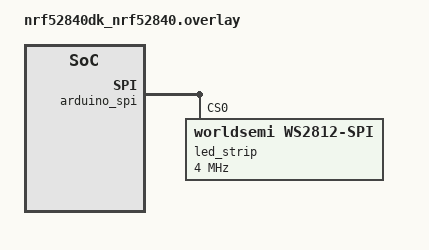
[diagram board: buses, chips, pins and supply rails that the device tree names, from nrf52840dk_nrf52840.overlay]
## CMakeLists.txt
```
cmake_minimum_required(VERSION 3.20.0)
find_package(Zephyr REQUIRED HINTS $ENV{ZEPHYR_BASE})

project(BT_DISPLAY)

target_sources(app PRIVATE src/main.c src/DCLK_client.c src/Interface.c)
```

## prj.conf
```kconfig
CONFIG_BT_DEVICE_NAME="DCLK_Display_1"

CONFIG_BT_MAX_CONN=1
CONFIG_BT_DEBUG_LOG=y
CONFIG_LOG=y
CONFIG_PRINTK=y



# Enable the BLE stack with GATT Client configuration
CONFIG_BT=y
CONFIG_BT_CENTRAL=y
CONFIG_BT_SMP=y
CONFIG_BT_GATT_CLIENT=y
CONFIG_BT_FILTER_ACCEPT_LIST=y 
#CONFIG_BT_SIGNING=y
#CONFIG_BT_FIXED_PASSKEY=y

CONFIG_BT_PRIVACY=y
CONFIG_BT_BONDABLE=y

# Enable the BLE modules from NCS
CONFIG_BT_SCAN=y
CONFIG_BT_SCAN_FILTER_ENABLE=y
CONFIG_BT_SCAN_UUID_CNT=1
CONFIG_BT_GATT_DM=y
CONFIG_HEAP_MEM_POOL_SIZE=2048

# This example requires more workqueue stack
CONFIG_SYSTEM_WORKQUEUE_STACK_SIZE=2048

# Enable bonding
CONFIG_BT_SETTINGS=y
CONFIG_FLASH=y
CONFIG_FLASH_PAGE_LAYOUT=y
CONFIG_FLASH_MAP=y
CONFIG_NVS=y
CONFIG_SETTINGS=y
```

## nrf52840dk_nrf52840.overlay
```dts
// To get started, press Ctrl+Space to bring up the completion menu and view the available nodes.

// You can also use the buttons in the sidebar to perform actions on nodes.
// Actions currently available include:

// * Enabling / disabling the node
// * Adding the bus to a bus
// * Removing the node
// * Connecting ADC channels

// For more help, browse the DeviceTree documentation at https://docs.zephyrproject.org/latest/guides/dts/index.html
// You can also visit the nRF DeviceTree extension documentation at https://nrfconnect.github.io/vscode-nrf-connect/devicetree/nrfdevicetree.html
#include <zephyr/dt-bindings/led/led.h>

 
 &arduino_spi { /* MOSI on D11 / P0.23 */
     compatible = "nordic,nrf-spim";
     led_strip: ws2812@0 {
         compatible = "worldsemi,ws2812-spi";
 
         /* SPI */
         reg = <0>; /* ignored, but necessary for SPI bindings */
         spi-max-frequency = <4000000>;
 
         /* WS2812 */
         chain-length = <16>; /* arbitrary; change at will */
         color-mapping = <LED_COLOR_ID_GREEN
                  LED_COLOR_ID_RED
                  LED_COLOR_ID_BLUE>;
         spi-one-frame = <0x40>;
         spi-zero-frame = <0x70>;
     };
 };
 
 / {
     aliases {
         led-strip = &led_strip;
     };
 };
```

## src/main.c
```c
/*
 * Copyright (c) 2023 Nordic Semiconductor ASA
 *
 * SPDX-License-Identifier: Apache-2.0
 */

#include <zephyr/bluetooth/bluetooth.h>
#include <zephyr/bluetooth/conn.h>
#include <zephyr/bluetooth/gatt.h>
#include <zephyr/bluetooth/uuid.h>
#include <zephyr/sys/util.h>
#include <zephyr/logging/log.h>
#include "DCLK_client.h"

#include "Interface.h"

LOG_MODULE_REGISTER(Display_app, CONFIG_LOG_DEFAULT_LEVEL);

/*DCLK Client Service and BLE*/

static uint8_t app_clock_cb(uint32_t data)
{
	LOG_INF("DCLK - Clock = %d ms", data);
	return BT_GATT_ITER_CONTINUE;
}
static uint8_t app_state_cb(uint8_t data)
{
	LOG_INF("DCLK - State = %d", data);
	return BT_GATT_ITER_CONTINUE;
}

static void unsubscribed(struct bt_gatt_subscribe_params *params)
{
	LOG_INF("unsub cb");
	return BT_GATT_ITER_CONTINUE;
}

static struct dclk_client_cb app_callbacks = {
	.received_clock = app_clock_cb,
	.received_state = app_state_cb,
	.unsubscribed = unsubscribed,
};

static uint8_t pair_cb(void)
{
	LOG_INF("Allow pairing");
	dclk_pairing(true);
}
static uint8_t user_cb(void)
{
}

static struct interface_cb inter_callbacks = {
	.pair_cb = pair_cb,
	.user_cb = user_cb,
};

int main(void)
{
	LOG_INF("DCLK_Display initialized\n");

	int err = interface_init(&inter_callbacks);
	if (err)
	{
		printk("Interface init failed (err %d)\n", err);
		return;
	}

	err = dclk_client_init(&app_callbacks, 123456);
	if (err)
	{
		printk("Failed to init LBS (err:%d)\n", err);
		return;
	}
	LOG_INF("Bluetooth initialized\n");

	//dclk_pairing(true);

	while (1)
	{
		k_sleep(K_FOREVER);
	}

	return 0;
}
```

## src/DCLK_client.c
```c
#include <zephyr/types.h>
#include <stddef.h>
#include <zephyr/sys/util.h>

#include <zephyr/bluetooth/bluetooth.h>
#include <zephyr/bluetooth/hci.h>
#include <zephyr/bluetooth/conn.h>
#include <zephyr/bluetooth/uuid.h>
#include <zephyr/bluetooth/gatt.h>
#include <zephyr/sys/byteorder.h>
#include <bluetooth/gatt_dm.h>

#include <zephyr/settings/settings.h>

#include <zephyr/logging/log.h>

#include "DCLK_client.h"

static unsigned int display_passkey = 123456;

//static struct bt_conn *default_conn;
struct dclk_client_t DCLK_client;

#define BT_UUID_DCLK BT_UUID_DECLARE_128(BT_UUID_DCLK_VAL)
#define BT_UUID_DCLK_VAL BT_UUID_128_ENCODE(0x00001553, 0x1212, 0xefde, 0x1523, 0x785feabcd123)

// #define LOG_MODULE_NAME DCLK_CLIENT
LOG_MODULE_DECLARE(Display_app, LOG_LEVEL_DBG);

enum
{
	DCLK_INITIALIZED,
	DCLK_CLOCK_NOTIF_ENABLED,
	DCLK_STATE_NOTIF_ENABLED
};

static uint8_t on_received(struct bt_conn *conn,
						   struct bt_gatt_subscribe_params *params,
						   const void *data, uint16_t length)
{
	if (!data)
	{
		DCLK_client.cb.unsubscribed(params);

		return BT_GATT_ITER_STOP;
	}

	if (params->value_handle == DCLK_client.dclock_notif_params.value_handle)
	{
		// LOG_INF("D_CLOCK updated");
		if (DCLK_client.cb.received_clock)
		{
			return DCLK_client.cb.received_clock(*(uint32_t *)data);
		}
	}
	else if (params->value_handle == DCLK_client.dstate_notif_params.value_handle)
	{
		// LOG_INF("D_STATE updated");
		if (DCLK_client.cb.received_state)
		{
			return DCLK_client.cb.received_state(*(uint8_t *)data);
		}
	}
	return BT_GATT_ITER_CONTINUE;
}

int dclk_client_subscribe(struct dclk_client_t *DCLK_c)
{
	int err;

	atomic_set_bit(&DCLK_c->conn_state, DCLK_CLOCK_NOTIF_ENABLED);

	LOG_DBG("Subsribing");
	DCLK_c->dclock_notif_params.notify = on_received;
	DCLK_c->dclock_notif_params.value = BT_GATT_CCC_NOTIFY;
	DCLK_c->dclock_notif_params.value_handle = DCLK_c->handles.dclock;
	DCLK_c->dclock_notif_params.ccc_handle = DCLK_c->handles.dclock_ccc;
	atomic_set_bit(DCLK_c->dclock_notif_params.flags,
				   BT_GATT_SUBSCRIBE_FLAG_VOLATILE);

	err = bt_gatt_subscribe(DCLK_c->conn, &DCLK_c->dclock_notif_params);
	if (err)
	{
		LOG_ERR("Subscribe DCLOCK failed (err %d)", err);
		atomic_clear_bit(&DCLK_c->conn_state, DCLK_CLOCK_NOTIF_ENABLED);
	}
	else
	{
		LOG_DBG("[SUBSCRIBED DCLOCK]");
	}

	DCLK_c->dstate_notif_params.notify = on_received;
	DCLK_c->dstate_notif_params.value = BT_GATT_CCC_NOTIFY;
	DCLK_c->dstate_notif_params.value_handle = DCLK_c->handles.dstate;
	DCLK_c->dstate_notif_params.ccc_handle = DCLK_c->handles.dstate_ccc;
	atomic_set_bit(DCLK_c->dstate_notif_params.flags,
				   BT_GATT_SUBSCRIBE_FLAG_VOLATILE);

	err = bt_gatt_subscribe(DCLK_c->conn, &DCLK_c->dstate_notif_params);
	if (err)
	{
		LOG_ERR("Subscribe DSTATE failed (err %d)", err);
		atomic_clear_bit(&DCLK_c->conn_state, DCLK_STATE_NOTIF_ENABLED);
	}
	else
	{
		LOG_DBG("[SUBSCRIBED DCLOCK]");
	}

	return err;
}

int dclk_client_handles_assign(struct bt_gatt_dm *dm,
							   struct dclk_client_t *DCLK_c)
{

	const struct bt_gatt_dm_attr *gatt_service_attr =
		bt_gatt_dm_service_get(dm);
	const struct bt_gatt_service_val *gatt_service =
		bt_gatt_dm_attr_service_val(gatt_service_attr);
	const struct bt_gatt_dm_attr *gatt_chrc;
	const struct bt_gatt_dm_attr *gatt_desc;

	if (bt_uuid_cmp(gatt_service->uuid, BT_UUID_DCLK))
	{
		LOG_INF("Failed");
		return -ENOTSUP;
	}
	LOG_INF("Getting handles from DCLK service.");
	memset(&DCLK_c->handles, 0xFF, sizeof(DCLK_c->handles));

	/* DCLK dclock Characteristic */
	gatt_chrc = bt_gatt_dm_char_by_uuid(dm, BT_UUID_DCLK_CLOCK);
	if (!gatt_chrc)
	{
		LOG_ERR("Missing DCLK dclock characteristic.");
		return -EINVAL;
	}

	/* DCLK dclock */
	gatt_desc = bt_gatt_dm_desc_by_uuid(dm, gatt_chrc, BT_UUID_DCLK_CLOCK);
	if (!gatt_desc)
	{
		LOG_ERR("Missing DCLK dclock value descriptor in characteristic.");
		return -EINVAL;
	}
	LOG_INF("Found handle for DCLK dclock characteristic.");
	DCLK_c->handles.dclock = gatt_desc->handle;

	/* DCLK dclock CCC */
	gatt_desc = bt_gatt_dm_desc_by_uuid(dm, gatt_chrc, BT_UUID_GATT_CCC);
	if (!gatt_desc)
	{
		LOG_ERR("Missing DCLK dclock CCC in characteristic.");
		return -EINVAL;
	}
	LOG_INF("Found handle for CCC of DCLK dclock characteristic.");
	DCLK_c->handles.dclock_ccc = gatt_desc->handle;

	/* DCLK dstate Characteristic */
	gatt_chrc = bt_gatt_dm_char_by_uuid(dm, BT_UUID_DCLK_STATE);
	if (!gatt_chrc)
	{
		LOG_ERR("Missing DCLK dstate characteristic.");
		return -EINVAL;
	}

	/* DCLK dstate */
	gatt_desc = bt_gatt_dm_desc_by_uuid(dm, gatt_chrc, BT_UUID_DCLK_STATE);
	if (!gatt_desc)
	{
		LOG_ERR("Missing DCLK dclock value descriptor in characteristic.");
		return -EINVAL;
	}
	LOG_INF("Found handle for DCLK dstate characteristic.");
	DCLK_c->handles.dstate = gatt_desc->handle;

	/* DCLK dstate CCC */
	gatt_desc = bt_gatt_dm_desc_by_uuid(dm, gatt_chrc, BT_UUID_GATT_CCC);
	if (!gatt_desc)
	{
		LOG_ERR("Missing DCLK dclock CCC in characteristic.");
		return -EINVAL;
	}
	LOG_INF("Found handle for CCC of DCLK dstate characteristic.");
	DCLK_c->handles.dstate_ccc = gatt_desc->handle;

	/* Assign connection instance. */
	DCLK_c->conn = bt_gatt_dm_conn_get(dm);
	return 0;
}

static void discovery_complete(struct bt_gatt_dm *dm,
							   void *context)
{
	LOG_INF("Service discovery completed");
	struct dclk_client_t *DCLK = context;

	dclk_client_handles_assign(dm, DCLK);
	LOG_DBG("Attempting to Subscribe");
	dclk_client_subscribe(DCLK);

	bt_gatt_dm_data_release(dm);
}

static void discovery_service_not_found(struct bt_conn *conn,
										void *context)
{
	LOG_INF("Service not found");
}

static void discovery_error(struct bt_conn *conn,
							int err,
							void *context)
{
	LOG_WRN("Error while discovering GATT database: (%d)", err);
}

struct bt_gatt_dm_cb discovery_cb = {
	.completed = discovery_complete,
	.service_not_found = discovery_service_not_found,
	.error_found = discovery_error,
};

static void gatt_discover(struct bt_conn *conn)
{
	int err;

	err = bt_gatt_dm_start(conn,
						   BT_UUID_DCLK,
						   &discovery_cb,
						   &DCLK_client);
	if (err)
	{
		LOG_ERR("could not start the discovery procedure, error "
				"code: %d",
				err);
	}
}

static void exchange_func(struct bt_conn *conn, uint8_t err, struct bt_gatt_exchange_params *params)
{
	if (!err)
	{
		LOG_INF("MTU exchange done");
	}
	else
	{
		LOG_WRN("MTU exchange failed (err %" PRIu8 ")", err);
	}
}

static void connected(struct bt_conn *conn, uint8_t conn_err)
{
	int err;
	LOG_INF("Connected");

	err = bt_scan_stop();
	if ((!err) && (err != -EALREADY))
	{
		LOG_ERR("Stop LE scan failed (err %d)", err);
	}

	err = bt_conn_set_security(conn, BT_SECURITY_L4);
	if (err)
	{
		LOG_WRN("Failed to set security: %d", err);
	}
	else
	{

		LOG_INF("Security Set");
	}

	gatt_discover(conn);
}

static void disconnected(struct bt_conn *conn, uint8_t reason)
{
	int err;

	LOG_INF("Disconnected:(reason %u)", reason);

	err = bt_scan_start(BT_SCAN_TYPE_SCAN_ACTIVE);
	if (err)
	{
		LOG_ERR("Scanning failed to start (err %d)",
				err);
	}
}

static void security_changed(struct bt_conn *conn, bt_security_t level,
							 enum bt_security_err err)
{
	char addr[BT_ADDR_LE_STR_LEN];

	bt_addr_le_to_str(bt_conn_get_dst(conn), addr, sizeof(addr));

	if (!err)
	{
		LOG_INF("Security changed: %s level %u", addr, level);
	}
	else
	{
		LOG_WRN("Security failed: %s level %u err %d", addr,
				level, err);
	}
}

BT_CONN_CB_DEFINE(conn_callbacks) = {
	.connected = connected,
	.disconnected = disconnected,
	.security_changed = security_changed,
};

static void scan_filter_match(struct bt_scan_device_info *device_info,
							  struct bt_scan_filter_match *filter_match,
							  bool connectable)
{
	char addr[BT_ADDR_LE_STR_LEN];

	bt_addr_le_to_str(device_info->recv_info->addr, addr, sizeof(addr));

	LOG_INF("Filters matched. Address: %s connectable: %d",
			addr, connectable);
}

static void scan_connecting_error(struct bt_scan_device_info *device_info)
{
	LOG_WRN("Connecting failed");
}

static void scan_connecting(struct bt_scan_device_info *device_info,
							struct bt_conn *conn)
{
	//default_conn = bt_conn_ref(conn);
}

BT_SCAN_CB_INIT(scan_cb, scan_filter_match, NULL,
				scan_connecting_error, scan_connecting);

static int scan_init(void)
{
	int err;
	struct bt_scan_init_param scan_init = {
		.connect_if_match = 1,
	};

	bt_scan_init(&scan_init);
	bt_scan_cb_register(&scan_cb);

	err = bt_scan_filter_add(BT_SCAN_FILTER_TYPE_UUID, BT_UUID_DCLK);
	if (err)
	{
		LOG_ERR("Scanning filters cannot be set (err %d)", err);
		return err;
	}

	err = bt_scan_filter_enable(BT_SCAN_UUID_FILTER, false);
	if (err)
	{
		LOG_ERR("Filters cannot be turned on (err %d)", err);
		return err;
	}

	LOG_INF("Scan module initialized");
	return err;
}

static void pairing_complete(struct bt_conn *conn, bool bonded)
{
	char addr[BT_ADDR_LE_STR_LEN];

	bt_addr_le_to_str(bt_conn_get_dst(conn), addr, sizeof(addr));

	LOG_INF("Pairing completed: %s, bonded: %d", addr, bonded);
}

static void pairing_failed(struct bt_conn *conn, enum bt_security_err reason)
{
	char addr[BT_ADDR_LE_STR_LEN];

	bt_addr_le_to_str(bt_conn_get_dst(conn), addr, sizeof(addr));

	LOG_WRN("Pairing failed conn: %s, reason %d", addr, reason);
}

static struct bt_conn_auth_info_cb conn_auth_info_callbacks = {
	.pairing_complete = pairing_complete,
	.pairing_failed = pairing_failed,
};

static void auth_cancel(struct bt_conn *conn)
{
	char addr[BT_ADDR_LE_STR_LEN];

	bt_addr_le_to_str(bt_conn_get_dst(conn), addr, sizeof(addr));

	LOG_INF("Pairing cancelled: %s\n", addr);
}

static void passkey_confirm(struct bt_conn *conn, unsigned int passkey)
{
	bt_conn_auth_passkey_confirm(conn);
}
static void passkey_entry(struct bt_conn *conn)
{
	LOG_INF("Sending entry passkey = %d", 123456);
	bt_conn_auth_passkey_entry(conn, 123456);
}

void passkey_display(struct bt_conn *conn, unsigned int passkey)
{
	LOG_INF("Controller passkey = %ld", passkey);
}

static struct bt_conn_auth_cb auth_cb_display = {
	.passkey_display = passkey_display,
	.passkey_entry = NULL, // passkey_entry,
	.passkey_confirm = passkey_confirm,
	.cancel = auth_cancel,
};

int dclk_client_init(struct dclk_client_cb *callbacks, unsigned int custom_passkey)
{

	int err;

	if (callbacks)
	{
		LOG_INF("DCLK callbacks set");
		DCLK_client.cb = *callbacks;
	}
	else
	{
		LOG_ERR("No DCLK callbacks set");
	}

	err = bt_enable(NULL);
	if (err)
	{
		LOG_INF("Bluetooth init failed (err %d)", err);
		return 0;
	}
	else
	{
		LOG_INF("Bluetooth initialized");
	}

	err = bt_conn_auth_cb_register(&auth_cb_display);
	if (err)
	{
		LOG_INF("Bluetooth autherization register failed (err %d)\n", err);
		return 0;
	}

	err = bt_conn_auth_info_cb_register(&conn_auth_info_callbacks);
	if (err)
	{
		LOG_INF("Bluetooth info register failed (err %d)\n", err);
		return 0;
	}

	if (IS_ENABLED(CONFIG_SETTINGS))
	{
		settings_load();

		LOG_INF("Settings Loaded Successfully\n");
	}
	else
	{
		LOG_INF("Could not load settings");
	}


	err = scan_init();
	if (err != 0)
	{
		LOG_ERR("scan_init failed (err %d)", err);
		return 0;
	}

	err = bt_scan_start(BT_SCAN_TYPE_SCAN_ACTIVE);
	if (err)
	{
		LOG_ERR("Scanning failed to start (err %d)", err);
		return 0;
	}

	LOG_INF("Scanning successfully started");

	return 0;
}


int dclk_pairing(bool enable)
{
	bt_scan_stop();

	int err = bt_unpair(BT_ID_DEFAULT, BT_ADDR_LE_ANY);
	if (err)
	{
		LOG_INF("Cannot delete bond (err: %d)\n", err);
	}
	else
	{
		LOG_INF("Bond deleted succesfully \n");
	}

	while(!bt_is_ready())
	{
		LOG_INF("BT_NOT_READY");
	}

	err = bt_scan_start(BT_SCAN_TYPE_SCAN_ACTIVE);

	if (err)
	{
		LOG_ERR("Scanning failed to start (err %d)", err);
		return 0;
	}

	LOG_INF("Scanning successfully started");

	return 0;
}
```

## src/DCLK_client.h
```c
#ifndef BT_DCLK_CLIENT_H_
#define BT_DCLK_CLIENT_H_

/**
 * @file
 * @defgroup DCLK_client Bluetooth LE GATT DCLK Client API
 * @{
 * @brief API for the Bluetooth LE DCLK Service (Client)
 */

#ifdef __cplusplus
extern "C"
{
#endif

#include <zephyr/types.h>
#include <zephyr/bluetooth/bluetooth.h>
#include <zephyr/bluetooth/hci.h>
#include <zephyr/bluetooth/conn.h>
#include <zephyr/bluetooth/uuid.h>
#include <zephyr/bluetooth/gatt.h>
#include <zephyr/sys/byteorder.h>
#include <bluetooth/gatt_dm.h>

#include <bluetooth/scan.h>

/** @brief DCLK Service UUID. */
#define BT_UUID_DCLK_VAL BT_UUID_128_ENCODE(0x00001553, 0x1212, 0xefde, 0x1523, 0x785feabcd123)

/** @brief State Characteristic UUID. */
#define BT_UUID_DCLK_STATE_VAL \
    BT_UUID_128_ENCODE(0x00001554, 0x1212, 0xefde, 0x1523, 0x785feabcd123)

/* STEP 11.1 - Assign a UUID to the MYSENSOR characteristic */
/** @brief Clock Characteristic UUID. */
#define BT_UUID_DCLK_CLOCK_VAL \
    BT_UUID_128_ENCODE(0x00001556, 0x1212, 0xefde, 0x1523, 0x785feabcd123)

#define BT_UUID_DCLK BT_UUID_DECLARE_128(BT_UUID_DCLK_VAL)
#define BT_UUID_DCLK_STATE BT_UUID_DECLARE_128(BT_UUID_DCLK_STATE_VAL)
#define BT_UUID_DCLK_CLOCK BT_UUID_DECLARE_128(BT_UUID_DCLK_CLOCK_VAL)

    /** @brief Handles on the connected peer device that are needed to interact with
     * the device.
     */
    struct dclk_client_handles
    {

        /** Handle of the DCLK dstate characteristic, as provided by
         *  a discovery.
         */
        uint16_t dstate;

        uint16_t dclock_ccc;

        /** Handle of the DCLK dclock characteristic, as provided by
         *  a discovery.
         */
        uint16_t dclock;

        uint16_t dstate_ccc;
    };

    /** @brief DCLK Client callback structure. */
    struct dclk_client_cb
    {
        /** @brief DCLK clock received callback.
         *
         * The data has been received as a notification of the DCLK clock
         * Characteristic.
         *
         * @param[in] clock_val received data.
         *
         * @retval BT_GATT_ITER_CONTINUE To keep notifications enabled.
         * @retval BT_GATT_ITER_STOP To disable notifications.
         */
        uint8_t (*received_clock)(uint32_t data);

        /** @brief DCLK state received callback.
         *
         * The data has been received as a notification of the DCLK state
         * Characteristic.
         *
         * @param[in] state_val recieved data.
         *
         * @retval BT_GATT_ITER_CONTINUE To keep notifications enabled.
         * @retval BT_GATT_ITER_STOP To disable notifications.
         */
        uint8_t (*received_state)(uint8_t data);

        /** @brief notifications disabled callback.
         *
         * notifications have been disabled.
         *
         * @param[in] DCLK  DCLK Client instance.
         */
        void (*unsubscribed)(struct bt_gatt_subscribe_params *params);
    };


    /** @brief DCLK Client structure. */
    struct dclk_client_t
    {

        /** Connection object. */
        struct bt_conn *conn;

        /** connection state. */
        atomic_t conn_state;

        /** Handles on the connected peer device that are needed
         * to interact with the device.
         */
        struct dclk_client_handles handles;

        /** GATT subscribe parameters for DCLK dclock Characteristic. */
        struct bt_gatt_subscribe_params dclock_notif_params;

        /** GATT write parameters for DCLK dstate Characteristic. */
        struct bt_gatt_subscribe_params dstate_notif_params;

        /** Application callbacks. */
        struct dclk_client_cb cb;
    };

    /** @brief Assign handles to the DCLK Client instance.
     *
     * This function should be called when a link with a peer has been established
     * to associate the link to this instance of the module. This makes it
     * possible to handle several links and associate each link to a particular
     * instance of this module. The GATT attribute handles are provided by the
     * GATT DB discovery module.
     *
     * @param[in] dm Discovery object.
     * @param[in,out] DCLK DCLK Client instance.
     *
     * @retval 0 If the operation was successful.
     * @retval (-ENOTSUP) Special error code used when UUID
     *         of the service does not match the expected UUID.
     * @retval Otherwise, a negative error code is returned.
     */



    int dclk_client_handles_assign(struct bt_gatt_dm *dm,
                                   struct dclk_client_t *DCLK);

    /** @brief Request the peer to start sending notifications for the dclock
     *	   Characteristic.
     *
     * This function enables notifications for the DCLK dclock Characteristic at the peer
     * by writing to the CCC descriptor of the DCLK dclock Characteristic.
     *
     * @param[in,out] DCLK DCLK Client instance.
     *
     * @retval 0 If the operation was successful.
     *           Otherwise, a negative error code is returned.
     */
    int dclk_client_subscribe(struct dclk_client_t *DCLK);

    /** @brief Initialize the DCLK Client module.
     *
     * This function initializes the DCLK Client module with callbacks provided by
     * the user.
     *
     * @param[in,out] callbacks callbacks for subscription events.
     * @param[in] custom_passkey a custom passkey for pairing.
     *
     * @retval 0 If the operation was successful.
     *           Otherwise, a negative error code is returned.
     */
    int dclk_client_init(struct dclk_client_cb *callbacks, unsigned int custom_passkey);

#ifdef __cplusplus
}
#endif

/**
 * @}
 */

#endif /* DCLK_CLIENT_H_ */
```

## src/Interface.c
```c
#include <zephyr/kernel.h>
#include <zephyr/logging/log.h>
#include <zephyr/bluetooth/bluetooth.h>
#include <zephyr/bluetooth/gap.h>
#include <zephyr/bluetooth/uuid.h>
#include <zephyr/bluetooth/conn.h>

#include <zephyr/drivers/gpio.h>

#include <zephyr/device.h>
#include <zephyr/devicetree.h>
#include <zephyr/settings/settings.h>

#include "Interface.h"

#define SW0_NODE DT_NODELABEL(button0)
#define SW1_NODE DT_NODELABEL(button1)
#define SW2_NODE DT_NODELABEL(button2)
#define PAIRING_BUTTON DT_NODELABEL(button3)

static const struct gpio_dt_spec button0 = GPIO_DT_SPEC_GET(SW0_NODE, gpios);
static const struct gpio_dt_spec button1 = GPIO_DT_SPEC_GET(SW1_NODE, gpios);
static const struct gpio_dt_spec userbtn = GPIO_DT_SPEC_GET(SW2_NODE, gpios);
static const struct gpio_dt_spec pairbtn = GPIO_DT_SPEC_GET(PAIRING_BUTTON, gpios);

static struct gpio_callback button0_cb_data;
static struct gpio_callback button1_cb_data;
static struct gpio_callback userbtn_cb_data;
static struct gpio_callback pairbtn_cb_data;

struct k_timer d_timer;
static uint8_t d_state = 0;		 // shot clock state
static uint32_t d_clock = 10000; // shot clock in ms

static struct interface_cb inter_cb;
/*DCLOCK*/

static void d_clock_expire(struct k_timer *timer_id)
{
	d_state = 2;
	d_clock = 0;
	d_clock = 10000;
	d_state = 0;
	k_timer_start(&d_timer, K_MSEC(d_clock), K_NO_WAIT);
}

static void pair_work_cb(void)
{
	inter_cb.pair_cb();
}
K_WORK_DEFINE(initiate_pairing, pair_work_cb);
/*UI*/

static void button_pressed(const struct device *dev, struct gpio_callback *cb, uint32_t pins)
{

	if (pins == BIT(button0.pin))
	{
		k_work_submit(&initiate_pairing);
		
	}
	else if (pins == BIT(button1.pin))
	{
		d_state = 2;
		d_clock = 0;
		k_timer_stop(&d_timer);
	}
	else if (pins == BIT(userbtn.pin))
	{
		d_state = 0;
		k_timer_start(&d_timer, K_MSEC(d_clock), K_NO_WAIT);
	}

	else if (pins == BIT(pairbtn.pin))
	{
		d_state = 0;
		d_clock = 10000;
		k_timer_start(&d_timer, K_MSEC(d_clock), K_NO_WAIT);
	}
}

uint32_t get_dclock(void)
{
	if (d_state == 0)
	{
		d_clock = k_timer_remaining_get(&d_timer);
	}

	return d_clock;
}

uint8_t get_dstate(void)
{
	return d_state;
}

int interface_init(struct interface_cb *app_cb)
{
	int err;
	err = device_is_ready(button0.port);
	err &= device_is_ready(button1.port);
	err &= device_is_ready(userbtn.port);
	err &= device_is_ready(pairbtn.port);
	if (!err)
	{
		return !err;
	}

	gpio_pin_configure_dt(&button0, GPIO_INPUT | GPIO_PULL_UP);
	gpio_pin_configure_dt(&button1, GPIO_INPUT);
	gpio_pin_configure_dt(&userbtn, GPIO_INPUT);
	gpio_pin_configure_dt(&pairbtn, GPIO_INPUT);

	gpio_pin_interrupt_configure_dt(&button0, GPIO_INT_EDGE_RISING);
	gpio_pin_interrupt_configure_dt(&button1, GPIO_INT_EDGE_RISING);
	gpio_pin_interrupt_configure_dt(&userbtn, GPIO_INT_EDGE_RISING);
	gpio_pin_interrupt_configure_dt(&pairbtn, GPIO_INT_EDGE_RISING);

	gpio_init_callback(&button0_cb_data, button_pressed, BIT(button0.pin));
	gpio_init_callback(&button1_cb_data, button_pressed, BIT(button1.pin));
	gpio_init_callback(&userbtn_cb_data, button_pressed, BIT(userbtn.pin));
	gpio_init_callback(&pairbtn_cb_data, button_pressed, BIT(pairbtn.pin));

	gpio_add_callback(button0.port, &button0_cb_data);
	gpio_add_callback(button1.port, &button1_cb_data);
	gpio_add_callback(userbtn.port, &userbtn_cb_data);
	gpio_add_callback(pairbtn.port, &pairbtn_cb_data);

	if (app_cb)
	{
		inter_cb.pair_cb = app_cb->pair_cb;
		inter_cb.user_cb = app_cb->user_cb;
	}

	d_clock = 10000;
	d_state = 0;
	k_timer_start(&d_timer, K_MSEC(d_clock), K_NO_WAIT);
	return 0;
}

K_TIMER_DEFINE(d_timer, d_clock_expire, NULL);
```

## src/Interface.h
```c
#ifndef DCLK_INTERFACE
#define DCLK_INTERFACE

/**@file
 * @defgroup bt_lbs LED Button Service API
 * @{
 * @brief API for the LED Button Service (LBS).
 */

#ifdef __cplusplus
extern "C" {
#endif

#include <zephyr/types.h>

/** @brief Callback type for when an LED state change is received. */
typedef uint8_t (*pair_cb_t)(void);

/** @brief Callback type for when the button state is pulled. */
typedef uint8_t (*user_cb_t)(void);

/** @brief Callback struct used by the LBS Service. */
struct interface_cb {
	/** LED state change callback. */
	pair_cb_t pair_cb;
	/** Button read callback. */
	user_cb_t user_cb;
};



/** @brief Initialize the LBS Service.
 *
 * This function registers application callback functions with the My LBS
 * Service
 *
 * @param[in] callbacks Struct containing pointers to callback functions
 *			used by the service. This pointer can be NULL
 *			if no callback functions are defined.
 *
 *
 * @retval 0 If the operation was successful.
 *           Otherwise, a (negative) error code is returned.
 */
int interface_init(struct interface_cb *app_cb);


/** @brief Send the button state as notification.
 *
 * This function sends a binary state, typically the state of a
 * button, to all connected peers.
 *
 * @param[in] state The state of the button.
 *
 * @retval 0 If the operation was successful.
 *           Otherwise, a (negative) error code is returned.
 */
uint32_t get_dclock (void);

/** @brief Send the sensor value as notification.
 *
 * This function sends an uint32_t  value, typically the value
 * of a simulated sensor to all connected peers.
 *
 * @param[in] clock The value of the simulated sensor.
 *
 * @retval 0 If the operation was successful.
 *           Otherwise, a (negative) error code is returned.
 */
uint8_t get_dstate (void);



#ifdef __cplusplus
}
#endif

/**
 * @}
 */

#endif /* BT_LBS_H_ */
```

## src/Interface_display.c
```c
#include <zephyr/kernel.h>
#include <zephyr/logging/log.h>
#include <zephyr/bluetooth/bluetooth.h>
#include <zephyr/bluetooth/gap.h>
#include <zephyr/bluetooth/uuid.h>
#include <zephyr/bluetooth/conn.h>

#include <zephyr/drivers/gpio.h>

#include <zephyr/device.h>
#include <zephyr/devicetree.h>
#include <zephyr/settings/settings.h>

#include "Interface_display.h"

#include <zephyr/drivers/led_strip.h>
#include <zephyr/device.h>
#include <zephyr/drivers/spi.h>
#include <zephyr/sys/util.h>

#define STRIP_NODE DT_ALIAS(led_strip)
#define STRIP_NUM_PIXELS DT_PROP(DT_ALIAS(led_strip), chain_length)

#define DELAY_TIME K_MSEC(50)

#define RGB(_r, _g, _b)                 \
	{                                   \
		.r = (_r), .g = (_g), .b = (_b) \
	}

static const struct led_rgb colors[] = {
	RGB(0x0f, 0x00, 0x00), /* red */
	RGB(0x00, 0x0f, 0x00), /* green */
	RGB(0x00, 0x00, 0x0f), /* blue */
};

struct led_rgb pixels[STRIP_NUM_PIXELS];

static const struct device *const strip = DEVICE_DT_GET(STRIP_NODE);

#define SW0_NODE DT_NODELABEL(button0)
#define SW1_NODE DT_NODELABEL(button1)
#define SW2_NODE DT_NODELABEL(button2)
#define PAIRING_BUTTON DT_NODELABEL(button3)



struct k_timer d_timer;
static uint8_t d_state = 0;		 // shot clock state
static uint32_t d_clock = 10000; // shot clock in ms

static struct interface_cb inter_cb;
/*DCLOCK*/



static void strip_init(void)
{
	if (device_is_ready(strip))
	{
		LOG_INF("Found LED strip device %s", strip->name);
	}
	else
	{
		LOG_ERR("LED strip device %s is not ready", strip->name);
		return;
	}
}

int interface_init(struct interface_cb *app_cb)
{
	strip_init();

	return 0;
}

int interface_write_display(uint32_t clock)
{
	

}
```

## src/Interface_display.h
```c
#ifndef DCLK_INTERFACE
#define DCLK_INTERFACE

/**@file
 * @defgroup bt_lbs LED Button Service API
 * @{
 * @brief API for the LED Button Service (LBS).
 */

#ifdef __cplusplus
extern "C" {
#endif

#include <zephyr/types.h>

/** @brief Callback type for when an LED state change is received. */
typedef uint8_t (*pair_cb_t)(void);

/** @brief Callback type for when the button state is pulled. */
typedef uint8_t (*user_cb_t)(void);

/** @brief Callback struct used by the LBS Service. */
struct interface_cb {
	/** LED state change callback. */
	pair_cb_t pair_cb;
	/** Button read callback. */
	user_cb_t user_cb;
};



/** @brief Initialize the LBS Service.
 *
 * This function registers application callback functions with the My LBS
 * Service
 *
 * @param[in] callbacks Struct containing pointers to callback functions
 *			used by the service. This pointer can be NULL
 *			if no callback functions are defined.
 *
 *
 * @retval 0 If the operation was successful.
 *           Otherwise, a (negative) error code is returned.
 */
int interface_init(struct interface_cb *app_cb);

/** @brief Initialize the LBS Service.
 *
 * This function registers application callback functions with the My LBS
 * Service
 *
 * @param[in] clock value to display on clock
 *
 *
 * @retval 0 If the operation was successful.
 *           Otherwise, a (negative) error code is returned.
 */
int interface_write_display(uint32_t clock);



#ifdef __cplusplus
}
#endif

/**
 * @}
 */

#endif /* BT_LBS_H_ */
```

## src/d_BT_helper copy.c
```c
/*
 * Copyright (c) 2023 Nordic Semiconductor ASA
 *
 * SPDX-License-Identifier: Apache-2.0
 */

#include <zephyr/bluetooth/bluetooth.h>
#include <zephyr/bluetooth/conn.h>
#include <zephyr/bluetooth/gatt.h>
#include <zephyr/bluetooth/uuid.h>
#include <zephyr/sys/util.h>
#define NAME_LEN 30

static K_SEM_DEFINE(sem_per_adv, 0, 1);
static K_SEM_DEFINE(sem_per_sync, 0, 1);
static K_SEM_DEFINE(sem_per_sync_lost, 0, 1);

static struct bt_conn *default_conn;
static struct bt_le_per_adv_sync *default_sync;
static struct __packed
{
	uint8_t subevent;
	uint8_t response_slot;

} pawr_timing;

static void sync_cb(struct bt_le_per_adv_sync *sync, struct bt_le_per_adv_sync_synced_info *info)
{
	struct bt_le_per_adv_sync_subevent_params params;
	uint8_t subevents[1];
	char le_addr[BT_ADDR_LE_STR_LEN];
	int err;

	bt_addr_le_to_str(info->addr, le_addr, sizeof(le_addr));
	printk("Synced to %s with %d subevents\n", le_addr, info->num_subevents);

	default_sync = sync;

	params.properties = 0;
	params.num_subevents = 1;
	params.subevents = subevents;
	subevents[0] = pawr_timing.subevent;

	err = bt_le_per_adv_sync_subevent(sync, &params);
	if (err)
	{
		printk("Failed to set subevents to sync to (err %d)\n", err);
	}

	k_sem_give(&sem_per_sync);
}

static void term_cb(struct bt_le_per_adv_sync *sync,
					const struct bt_le_per_adv_sync_term_info *info)
{
	char le_addr[BT_ADDR_LE_STR_LEN];

	bt_addr_le_to_str(info->addr, le_addr, sizeof(le_addr));

	printk("Sync terminated (reason %d)\n", info->reason);

	default_sync = NULL;

	k_sem_give(&sem_per_sync_lost);
}

static bool print_ad_field(struct bt_data *data, void *user_data)
{
	ARG_UNUSED(user_data);

	printk("    0x%02X: ", data->type);
	for (size_t i = 0; i < data->data_len; i++)
	{
		printk("%02X", data->data[i]);
	}

	printk("\n");

	return true;
}

int bt_le_per_adv_set_response_data(struct bt_le_per_adv_sync *per_adv_sync,
									const struct bt_le_per_adv_response_params *params,
									const struct net_buf_simple *data);

static struct bt_le_per_adv_response_params rsp_params;

NET_BUF_SIMPLE_DEFINE_STATIC(rsp_buf, 247);

static void recv_cb(struct bt_le_per_adv_sync *sync,
					const struct bt_le_per_adv_sync_recv_info *info, struct net_buf_simple *buf)
{
	int err;

	if (buf && buf->len)
	{
		/* Echo the data back to the advertiser */
		net_buf_simple_reset(&rsp_buf);
		net_buf_simple_add_mem(&rsp_buf, buf->data, buf->len);

		rsp_params.request_event = info->periodic_event_counter;
		rsp_params.request_subevent = info->subevent;
		/* Respond in current subevent and assigned response slot */
		rsp_params.response_subevent = info->subevent;
		rsp_params.response_slot = pawr_timing.response_slot;

		printk("Indication: subevent %d, responding in slot %d\n", info->subevent,
			   pawr_timing.response_slot);
		bt_data_parse(buf, print_ad_field, NULL);

		err = bt_le_per_adv_set_response_data(sync, &rsp_params, &rsp_buf);
		if (err)
		{
			printk("Failed to send response (err %d)\n", err);
		}
	}
	else if (buf)
	{
		printk("Received empty indication: subevent %d\n", info->subevent);
	}
	else
	{
		printk("Failed to receive indication: subevent %d\n", info->subevent);
	}
}

static struct bt_le_per_adv_sync_cb sync_callbacks = {
	.synced = sync_cb,
	.term = term_cb,
	.recv = recv_cb,
};

static struct bt_uuid_128 pawr_svc_uuid =
	BT_UUID_INIT_128(BT_UUID_128_ENCODE(0x12345678, 0x1234, 0x5678, 0x1234, 0x56789abcdef0));
static struct bt_uuid_128 pawr_char_uuid =
	BT_UUID_INIT_128(BT_UUID_128_ENCODE(0x12345678, 0x1234, 0x5678, 0x1234, 0x56789abcdef1));

static ssize_t write_timing(struct bt_conn *conn, const struct bt_gatt_attr *attr, const void *buf,
							uint16_t len, uint16_t offset, uint8_t flags)
{
	if (offset)
	{
		return BT_GATT_ERR(BT_ATT_ERR_INVALID_OFFSET);
	}

	if (len != sizeof(pawr_timing))
	{
		return BT_GATT_ERR(BT_ATT_ERR_INVALID_ATTRIBUTE_LEN);
	}

	memcpy(&pawr_timing, buf, len);

	printk("New timing: subevent %d, response slot %d\n", pawr_timing.subevent,
		   pawr_timing.response_slot);

	struct bt_le_per_adv_sync_subevent_params params;
	uint8_t subevents[1];
	int err;

	params.properties = 0;
	params.num_subevents = 1;
	params.subevents = subevents;
	subevents[0] = pawr_timing.subevent;

	if (default_sync)
	{
		err = bt_le_per_adv_sync_subevent(default_sync, &params);
		if (err)
		{
			printk("Failed to set subevents to sync to (err %d)\n", err);
		}
	}
	else
	{
		printk("Not synced yet\n");
	}

	return len;
}

BT_GATT_SERVICE_DEFINE(pawr_svc, BT_GATT_PRIMARY_SERVICE(&pawr_svc_uuid.uuid),
					   BT_GATT_CHARACTERISTIC(&pawr_char_uuid.uuid, BT_GATT_CHRC_WRITE,
											  BT_GATT_PERM_WRITE, NULL, write_timing,
											  &pawr_timing));

void connected(struct bt_conn *conn, uint8_t err)
{
	printk("Connected (err 0x%02X)\n", err);

	if (err)
	{
		default_conn = NULL;

		return;
	}

	default_conn = bt_conn_ref(conn);
}

void disconnected(struct bt_conn *conn, uint8_t reason)
{
	bt_conn_unref(default_conn);
	default_conn = NULL;

	printk("Disconnected (reason 0x%02X)\n", reason);
}

BT_CONN_CB_DEFINE(conn_cb) = {
	.connected = connected,
	.disconnected = disconnected,
};

int bluetooth_init(void)
{

	struct bt_le_per_adv_sync_transfer_param past_param;
	int err;

	printk("Starting Periodic Advertising with Responses Synchronization Demo\n");

	err = bt_enable(NULL);
	if (err)
	{
		printk("Bluetooth init failed (err %d)\n", err);

		return 0;
	}

	bt_le_per_adv_sync_cb_register(&sync_callbacks);

	past_param.skip = 1;
	past_param.timeout = 1000; /* 10 seconds */
	past_param.options = BT_LE_PER_ADV_SYNC_TRANSFER_OPT_NONE;
	err = bt_le_per_adv_sync_transfer_subscribe(NULL, &past_param);
	if (err)
	{
		printk("PAST subscribe failed (err %d)\n", err);

		return 0;
	}

	do
	{
		err = bt_le_adv_start(
			BT_LE_ADV_PARAM(BT_LE_ADV_OPT_ONE_TIME | BT_LE_ADV_OPT_CONNECTABLE |
								BT_LE_ADV_OPT_USE_NAME |
								BT_LE_ADV_OPT_FORCE_NAME_IN_AD,
							BT_GAP_ADV_FAST_INT_MIN_2, BT_GAP_ADV_FAST_INT_MAX_2, NULL),
			NULL, 0, NULL, 0);
		if (err && err != -EALREADY)
		{
			printk("Advertising failed to start (err %d)\n", err);

			return 0;
		}

		printk("Waiting for periodic sync...\n");
		err = k_sem_take(&sem_per_sync, K_SECONDS(10));
		if (err)
		{
			printk("Timed out while synchronizing\n");

			continue;
		}

		printk("Periodic sync established.\n");

		err = k_sem_take(&sem_per_sync_lost, K_FOREVER);
		if (err)
		{
			printk("failed (err %d)\n", err);

			return 0;
		}

		printk("Periodic sync lost.\n");
	} while (true);

	return 0;
}
```

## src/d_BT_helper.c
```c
/* main.c - Application main entry point */

/*
 * Copyright (c) 2015-2016 Intel Corporation
 *
 * SPDX-License-Identifier: Apache-2.0
 */

#include <zephyr/types.h>
#include <stddef.h>
#include <zephyr/sys/printk.h>
#include <zephyr/sys/util.h>

#include <zephyr/bluetooth/bluetooth.h>
#include <zephyr/bluetooth/hci.h>
#include <zephyr/bluetooth/conn.h>
#include <zephyr/bluetooth/uuid.h>
#include <zephyr/bluetooth/gatt.h>
#include <zephyr/sys/byteorder.h>
#include <bluetooth/gatt_dm.h>

#include <bluetooth/scan.h>

#include <zephyr/settings/settings.h>

#include <zephyr/logging/log.h>

#include "DCLK_client.h"

const unsigned int passkey = 123456;

#define LOG_MODULE_NAME DCLK_DISPLAY
LOG_MODULE_REGISTER(LOG_MODULE_NAME);
#define BT_UUID_DCLK BT_UUID_DECLARE_128(BT_UUID_DCLK_VAL)
#define BT_UUID_DCLK_VAL BT_UUID_128_ENCODE(0x00001553, 0x1212, 0xefde, 0x1523, 0x785feabcd123)

static struct bt_conn *default_conn;
struct bt_DCLK_client DCLK_client;

static void unsubscribed(struct bt_DCLK_client *DCLK)
{
	LOG_INF("unsubscribe\n");
}

static uint8_t ble_data_received(struct bt_DCLK_client *nus,
								 const uint8_t *data, uint16_t len)
{
	LOG_INF("BLE REC\n");
	return 0;
}

static void discovery_complete(struct bt_gatt_dm *dm,
							   void *context)
{
	LOG_INF("Service discovery completed");
	struct bt_DCLK_client *DCLK = context;
	//LOG_INF("context: %d", DCLK->dstate_notif_params);
	bt_gatt_dm_data_print(dm);
	bt_DCLK_handles_assign(dm, DCLK);
	bt_DCLK_subscribe_receive(DCLK);

	bt_gatt_dm_data_release(dm);
}

static void discovery_service_not_found(struct bt_conn *conn,
										void *context)
{
	LOG_INF("Service not found");
}

static void discovery_error(struct bt_conn *conn,
							int err,
							void *context)
{
	LOG_WRN("Error while discovering GATT database: (%d)", err);
}

struct bt_gatt_dm_cb discovery_cb = {
	.completed = discovery_complete,
	.service_not_found = discovery_service_not_found,
	.error_found = discovery_error,
};

static void gatt_discover(struct bt_conn *conn)
{
	int err;

	if (conn != default_conn)
	{
		return;
	}

	err = bt_gatt_dm_start(conn,
						   BT_UUID_DCLK,
						   &discovery_cb,
						   &DCLK_client);
	if (err)
	{
		LOG_ERR("could not start the discovery procedure, error "
				"code: %d",
				err);
	}
}

static void exchange_func(struct bt_conn *conn, uint8_t err, struct bt_gatt_exchange_params *params)
{
	if (!err)
	{
		LOG_INF("MTU exchange done");
	}
	else
	{
		LOG_WRN("MTU exchange failed (err %" PRIu8 ")", err);
	}
}

static void connected(struct bt_conn *conn, uint8_t conn_err)
{
	char addr[BT_ADDR_LE_STR_LEN];
	int err;

	bt_addr_le_to_str(bt_conn_get_dst(conn), addr, sizeof(addr));

	if (conn_err)
	{
		LOG_INF("Failed to connect to %s (%d)", addr, conn_err);

		if (default_conn == conn)
		{
			bt_conn_unref(default_conn);
			default_conn = NULL;

			err = bt_scan_start(BT_SCAN_TYPE_SCAN_ACTIVE);
			if (err)
			{
				LOG_ERR("Scanning failed to start (err %d)",
						err);
			}
		}

		return;
	}

	LOG_INF("Connected: %s", addr);

	static struct bt_gatt_exchange_params exchange_params;

	exchange_params.func = exchange_func;
	err = bt_gatt_exchange_mtu(conn, &exchange_params);
	if (err)
	{
		LOG_WRN("MTU exchange failed (err %d)", err);
	}
	LOG_INF("Security %d", bt_conn_get_security(conn));

	err = bt_conn_set_security(conn, BT_SECURITY_L4);
	if (err)
	{
		LOG_WRN("Failed to set security: %d", err);

		gatt_discover(conn);
	}

	err = bt_scan_stop();
	if ((!err) && (err != -EALREADY))
	{
		LOG_ERR("Stop LE scan failed (err %d)", err);
	}
}

static void disconnected(struct bt_conn *conn, uint8_t reason)
{
	char addr[BT_ADDR_LE_STR_LEN];
	int err;

	bt_addr_le_to_str(bt_conn_get_dst(conn), addr, sizeof(addr));

	LOG_INF("Disconnected: %s (reason %u)", addr, reason);

	if (default_conn != conn)
	{
		return;
	}

	bt_conn_unref(default_conn);
	default_conn = NULL;

	err = bt_scan_start(BT_SCAN_TYPE_SCAN_ACTIVE);
	if (err)
	{
		LOG_ERR("Scanning failed to start (err %d)",
				err);
	}
}

static void security_changed(struct bt_conn *conn, bt_security_t level,
							 enum bt_security_err err)
{
	char addr[BT_ADDR_LE_STR_LEN];

	bt_addr_le_to_str(bt_conn_get_dst(conn), addr, sizeof(addr));

	if (!err)
	{
		LOG_INF("Security changed: %s level %u", addr, level);
	}
	else
	{
		LOG_WRN("Security failed: %s level %u err %d", addr,
				level, err);
	}

	gatt_discover(conn);
}

BT_CONN_CB_DEFINE(conn_callbacks) = {
	.connected = connected,
	.disconnected = disconnected,
	.security_changed = security_changed};

static void scan_filter_match(struct bt_scan_device_info *device_info,
							  struct bt_scan_filter_match *filter_match,
							  bool connectable)
{
	char addr[BT_ADDR_LE_STR_LEN];

	bt_addr_le_to_str(device_info->recv_info->addr, addr, sizeof(addr));

	LOG_INF("Filters matched. Address: %s connectable: %d",
			addr, connectable);
}

static void scan_connecting_error(struct bt_scan_device_info *device_info)
{
	LOG_WRN("Connecting failed");
}

static void scan_connecting(struct bt_scan_device_info *device_info,
							struct bt_conn *conn)
{
	default_conn = bt_conn_ref(conn);
}

BT_SCAN_CB_INIT(scan_cb, scan_filter_match, NULL,
				scan_connecting_error, scan_connecting);

static int scan_init(void)
{
	int err;
	struct bt_scan_init_param scan_init = {
		.connect_if_match = 1,
	};

	bt_scan_init(&scan_init);
	bt_scan_cb_register(&scan_cb);

	err = bt_scan_filter_add(BT_SCAN_FILTER_TYPE_UUID, BT_UUID_DCLK);
	if (err)
	{
		LOG_ERR("Scanning filters cannot be set (err %d)", err);
		return err;
	}

	err = bt_scan_filter_enable(BT_SCAN_UUID_FILTER, false);
	if (err)
	{
		LOG_ERR("Filters cannot be turned on (err %d)", err);
		return err;
	}

	LOG_INF("Scan module initialized");
	return err;
}

static void pairing_complete(struct bt_conn *conn, bool bonded)
{
	char addr[BT_ADDR_LE_STR_LEN];

	bt_addr_le_to_str(bt_conn_get_dst(conn), addr, sizeof(addr));

	LOG_INF("Pairing completed: %s, bonded: %d", addr, bonded);
}

static void pairing_failed(struct bt_conn *conn, enum bt_security_err reason)
{
	char addr[BT_ADDR_LE_STR_LEN];

	bt_addr_le_to_str(bt_conn_get_dst(conn), addr, sizeof(addr));

	LOG_WRN("Pairing failed conn: %s, reason %d", addr, reason);
}

static struct bt_conn_auth_info_cb conn_auth_info_callbacks = {
	.pairing_complete = pairing_complete,
	.pairing_failed = pairing_failed};

static void auth_pairing(struct bt_conn *conn)
{
	char addr[BT_ADDR_LE_STR_LEN];
	bt_addr_le_to_str(bt_conn_get_dst(conn), addr, sizeof(addr));
	int err = bt_conn_auth_pairing_confirm(conn);
	printk("Pairing Authorized %d: %s\n", err, addr);
}

static void auth_cancel(struct bt_conn *conn)
{
	char addr[BT_ADDR_LE_STR_LEN];

	bt_addr_le_to_str(bt_conn_get_dst(conn), addr, sizeof(addr));

	printk("Pairing cancelled: %s\n", addr);
}

static void passkey_confirm(struct bt_conn *conn, unsigned int passkey)
{
	// Display the passkey on your device's interface for confirmation
	printk("Passkey for confirmation: %06u\n", passkey);

	// You might implement a mechanism to confirm the passkey here,
	// for example, through a user interface or automatic confirmation.

	// If the passkey is confirmed, you can respond with:
	bt_conn_auth_passkey_confirm(conn);

	// If the passkey is rejected, you can respond with:
	// bt_conn_auth_cancel(conn);
}

static struct bt_conn_auth_cb auth_cb_display = {
	.passkey_display = NULL,			// auth_passkey_display,
	.passkey_confirm = passkey_confirm, // auth_passkey_confirm,
	.cancel = auth_cancel,
	.pairing_confirm = auth_pairing, // pairing_confirm,
};

int bluetooth_init(void)
{

	int err;

	err = bt_enable(NULL);
	if (err)
	{
		printk("Bluetooth init failed (err %d)\n", err);
		return 0;
	}

	LOG_INF("Bluetooth initialized");
	bt_passkey_set(passkey);
	bt_conn_auth_cb_register(&auth_cb_display);

	if (IS_ENABLED(CONFIG_SETTINGS))
	{
		settings_load();
	}

	err= bt_unpair(BT_ID_DEFAULT,BT_ADDR_LE_ANY);

	err = scan_init();
	if (err != 0)
	{
		LOG_ERR("scan_init failed (err %d)", err);
		return 0;
	}

	err = bt_scan_start(BT_SCAN_TYPE_SCAN_ACTIVE);
	if (err)
	{
		LOG_ERR("Scanning failed to start (err %d)", err);
		return 0;
	}

	LOG_INF("Scanning successfully started");

	while (1)
	{
		k_sleep(K_FOREVER);
	}
	return 0;
}
```

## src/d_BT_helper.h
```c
#ifndef BT_HELPER
#define BT_HELPER


int bluetooth_init(void);



#endif /* BT_DCLK_CLIENT_H_ */
```

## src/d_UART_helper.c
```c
// USB

#include <zephyr/kernel.h>
#include <zephyr/sys/printk.h>
#include <zephyr/usb/usb_device.h>
#include <zephyr/usb/usbd.h>
#include <zephyr/drivers/uart.h>

BUILD_ASSERT(DT_NODE_HAS_COMPAT(DT_CHOSEN(zephyr_console), zephyr_cdc_acm_uart),
			 "Console device is not ACM CDC UART device");

#if defined(CONFIG_USB_DEVICE_STACK_NEXT)
USBD_CONFIGURATION_DEFINE(config_1,
						  USB_SCD_SELF_POWERED,
						  200);

USBD_DESC_LANG_DEFINE(sample_lang);
USBD_DESC_STRING_DEFINE(sample_mfr, "ZEPHYR", 1);
USBD_DESC_STRING_DEFINE(sample_product, "Zephyr USBD ACM console", 2);
USBD_DESC_STRING_DEFINE(sample_sn, "0123456789ABCDEF", 3);

USBD_DEVICE_DEFINE(sample_usbd,
				   DEVICE_DT_GET(DT_NODELABEL(zephyr_udc0)),
				   0x2fe3, 0x0001);

static int enable_usb_device_next(void)
{
	int err;

	err = usbd_add_descriptor(&sample_usbd, &sample_lang);
	if (err)
	{
		return err;
	}

	err = usbd_add_descriptor(&sample_usbd, &sample_mfr);
	if (err)
	{
		return err;
	}

	err = usbd_add_descriptor(&sample_usbd, &sample_product);
	if (err)
	{
		return err;
	}

	err = usbd_add_descriptor(&sample_usbd, &sample_sn);
	if (err)
	{
		return err;
	}

	err = usbd_add_configuration(&sample_usbd, &config_1);
	if (err)
	{
		return err;
	}

	err = usbd_register_class(&sample_usbd, "cdc_acm_0", 1);
	if (err)
	{
		return err;
	}

	err = usbd_init(&sample_usbd);
	if (err)
	{
		return err;
	}

	err = usbd_enable(&sample_usbd);
	if (err)
	{
		return err;
	}

	return 0;
}
#endif /* IS_ENABLED(CONFIG_USB_DEVICE_STACK_NEXT) */

// USB
```
